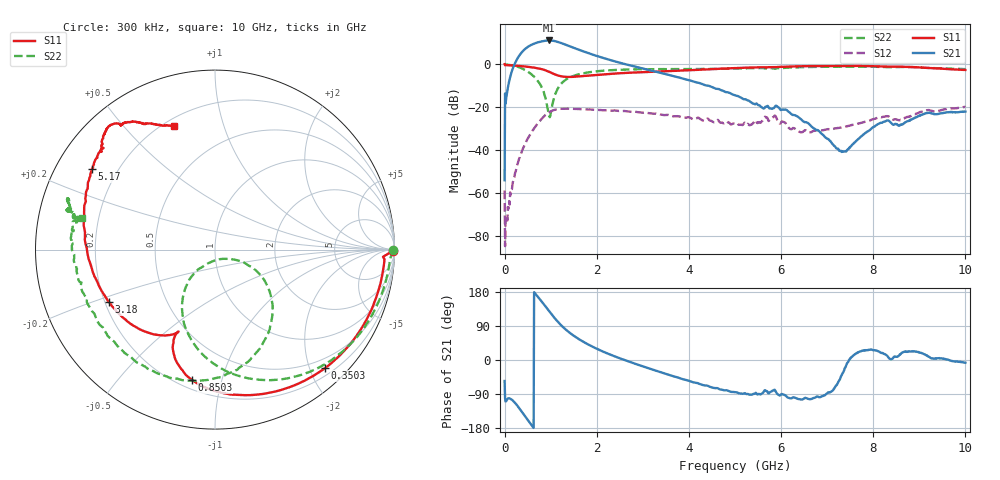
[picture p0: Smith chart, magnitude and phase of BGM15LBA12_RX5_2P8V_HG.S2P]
!Agilent Technologies,E5071C,MY46316587,B.13.01
!Date: Thu Dec 07 13:58:22 2017
!Data & Calibration Information:
!Freq	S11:SOLT2(ON)	S21:SOLT2(ON)	S12:SOLT2(ON)	S22:SOLT2(ON)
!PortZ  Port1:50+j0  Port2:50+j0
!Above PortZ is port z conversion or system Z0 setting when saving the data.
!When reading, reference impedance value at option line is always used.
# Hz S dB R 50
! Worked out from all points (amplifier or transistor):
!   1001 points, 300 kHz to 10 GHz, reference 50 ohm
!   highest |S21| = 11.0 dB at 970.3 MHz (marker M1)
!   |S21| within 3 dB of that: 504.5 MHz to 1.448 GHz (943.2 MHz wide, 96.6 % of centre)
!   unconditionally stable (mu >= 1): start of sweep to end of sweep
!   at 1.66 GHz: K = 1.40, MAG = 9.9 dB, |S12| = -21.0 dB
!   at 5 GHz: K = 8.54, MAG = -5.7 dB, |S12| = -27.7 dB
!   at 10 GHz: K = 12.75, MAG = -15.1 dB, |S12| = -20.0 dB
!   lowest NFmin = 1.09 dB at 700 MHz
!   S11 on the Smith chart (normalised r, x): 300 kHz: open; 350.3 MHz: 0.32, -2.26; 850.3 MHz: 0.25, -0.81; 3.18 GHz: 0.22, -0.22; 5.17 GHz: 0.11, +0.29; 10 GHz: 0.24, +0.69
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300000  -0.07 -0.3  -54.20 -55.4  -58.98 84.7  -0.07 -0.1
6.02982e7  -0.51 -8.8  -12.32 -103.4  -72.97 121.3  -0.30 -11.6
2.102937e8  -0.67 -29.1  -0.37 -111.1  -52.82 153.1  -0.82 -38.4
3.502895e8  -0.91 -47.0  4.89 -132.5  -42.12 159.0  -1.79 -62.5
4.802856e8  -1.21 -62.4  7.64 -154.6  -35.68 149.6  -3.22 -83.3
6.202814e8  -1.61 -77.6  9.35 -177.8  -30.71 137.4  -5.49 -103.3
7.402778e8  -2.05 -89.7  10.22 163.9  -27.15 125.3  -8.41 -118.9
8.502745e8  -2.64 -100.0  10.77 147.5  -24.53 112.2  -13.10 -130.5
9.702709e8  -3.64 -109.2  11.01 128.5  -22.46 95.8  -24.50 -87.6
1.120266e9  -5.03 -114.4  10.52 105.7  -21.17 75.8  -12.96 -25.6
1.310261e9  -5.95 -114.3  9.14 82.2  -20.86 56.6  -7.59 -41.1
1.67025e9  -5.66 -115.7  6.22 50.7  -21.03 34.6  -4.47 -64.4
2.300231e9  -4.55 -128.4  1.83 13.9  -21.72 14.4  -2.89 -90.2
3.180205e9  -3.62 -153.6  -3.04 -24.1  -23.00 -5.3  -2.39 -117.8
3.3402e9  -3.48 -158.9  -3.86 -30.4  -23.38 -7.7  -2.38 -122.8
5.00015e9  -1.88 150.3  -14.57 -85.0  -27.75 -7.5  -2.10 -176.9
5.170145e9  -1.73 146.8  -16.19 -89.1  -28.38 -0.5  -1.96 178.5
5.850124e9  -1.50 137.7  -20.41 -78.7  -24.27 -8.7  -2.12 166.5
6.6701e9  -0.95 133.0  -29.31 -102.0  -31.55 9.4  -1.35 161.8
7.370079e9  -0.85 130.8  -40.75 -26.5  -29.29 29.7  -1.23 160.8
8.34005e9  -1.24 127.1  -26.47 5.2  -24.51 20.4  -1.50 163.1
1e10  -2.77 108.4  -22.18 -7.3  -20.01 9.9  -2.37 166.8
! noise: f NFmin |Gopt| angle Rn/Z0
6.5e+08  1.171  0.5183  70.82  0.2768
7e+08  1.093  0.531  71.21  0.2311
7.5e+08  1.103  0.5038  75.76  0.2414
8e+08  1.116  0.49  78.55  0.2234
8.5e+08  1.131  0.478  80.56  0.2099
9e+08  1.148  0.4694  82.41  0.2148
9.5e+08  1.154  0.4374  84.36  0.2419
1e+09  1.167  0.4079  88.99  0.1913
